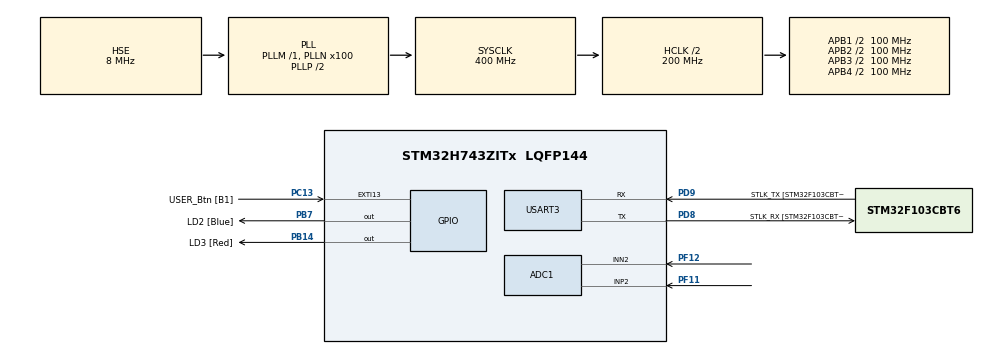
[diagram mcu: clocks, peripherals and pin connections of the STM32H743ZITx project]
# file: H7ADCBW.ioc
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Mcu.Family=STM32H7
NVIC.USART3_IRQn=true\:0\:0\:false\:false\:true\:true\:true
RCC.CortexFreq_Value=400000000
ADC1.ContinuousConvMode=ENABLE
RCC.HPRE=RCC_HCLK_DIV2
PH0-OSC_IN\ (PH0).Signal=RCC_OSC_IN
Dma.ADC1.0.Polarity=HAL_DMAMUX_REQ_GEN_RISING
RCC.PLL2_VCI_Range-AdvancedSettings=RCC_PLL2VCIRANGE_0
Dma.USART3_TX.1.MemInc=DMA_MINC_ENABLE
PB14.GPIO_Label=LD3 [Red]
PC15-OSC32_OUT\ (OSC32_OUT).Mode=LSE-External-Oscillator
RCC.PLLFRACN=0
RCC.SYSCLKSourceVirtual=RCC_SYSCLKSOURCE_PLLCLK
Dma.USART3_TX.1.PeriphDataAlignment=DMA_PDATAALIGN_BYTE
RCC.PLL2FRACN=0
Dma.USART3_TX.1.Instance=DMA1_Stream1
PC13.GPIO_Label=USER_Btn [B1]
Dma.USART3_TX.1.RequestNumber=1
PD9.Mode=Asynchronous
RCC.SYSCLKSource=RCC_SYSCLKSOURCE_PLLCLK
ProjectManager.StackSize=0x400
Dma.USART3_TX.1.EventEnable=DISABLE
USART3.VirtualMode-Asynchronous=VM_ASYNC
PA14\ (JTCK/SWCLK).Signal=DEBUG_JTCK-SWCLK
RCC.HCLKFreq_Value=200000000
RCC.APB2TimFreq_Value=216000000
Dma.ADC1.0.Direction=DMA_PERIPH_TO_MEMORY
PF12.Signal=ADC1_INN2
PD8.Signal=USART3_TX
Dma.ADC1.0.MemDataAlignment=DMA_MDATAALIGN_HALFWORD
RCC.AHBFreq_Value=216000000
ADC1.Channel-0\#ChannelRegularConversion=ADC_CHANNEL_2
RCC.HSE_VALUE=8000000
Dma.USART3_TX.1.Mode=DMA_NORMAL
Dma.USART3_TX.1.SignalID=NONE
RCC.DIVM2=1
RCC.DIVM1=1
RCC.PLLMUL=RCC_PLL_MUL9
RCC.PLL1_VCI_Range-AdvancedSettings=RCC_PLL1VCIRANGE_0
PF11.Signal=ADC1_INP2
Dma.ADC1.0.PeriphInc=DMA_PINC_DISABLE
PB7.Signal=GPIO_Output
PA14\ (JTCK/SWCLK).Mode=Serial_Wire
ADC1.SamplingTime-0\#ChannelRegularConversion=ADC_SAMPLETIME_1CYCLE_5
Dma.USART3_TX.1.FIFOMode=DMA_FIFOMODE_DISABLE
Dma.USART3_TX.1.Priority=DMA_PRIORITY_LOW
RCC.APB3Freq_Value=100000000
PB7.GPIO_Label=LD2 [Blue]
Mcu.Package=LQFP144
RCC.D1PPRE=RCC_APB3_DIV2
PC14-OSC32_IN\ (OSC32_IN).Mode=LSE-External-Oscillator
RCC.APB2CLKDivider=RCC_HCLK_DIV2
RCC.APB4Freq_Value=100000000
RCC.APB1TimFreq_Value=108000000
Dma.Request1=USART3_TX
Dma.ADC1.0.FIFOMode=DMA_FIFOMODE_DISABLE
NVIC.DMA1_Stream0_IRQn=true\:0\:0\:false\:false\:true\:false\:true
Dma.USART3_TX.1.PeriphInc=DMA_PINC_DISABLE
Dma.Request0=ADC1
PH0-OSC_IN\ (PH0).Mode=HSE-External-Clock-Source
Dma.ADC1.0.EventEnable=DISABLE
RCC.PLLSourceVirtual=RCC_PLLSOURCE_HSE
Dma.USART3_TX.1.MemDataAlignment=DMA_MDATAALIGN_BYTE
Dma.ADC1.0.Instance=DMA1_Stream0
CORTEX_M7.CPU_ICache=Enabled
RCC.DIVQ1=4
ADC1.Rank-0\#ChannelRegularConversion=1
PA13\ (JTMS/SWDIO).Mode=Serial_Wire
PD9.GPIO_Label=STLK_TX [STM32F103CBT6_PA2]
Dma.USART3_TX.1.SyncSignalID=NONE
Dma.ADC1.0.SyncRequestNumber=1
ADC1.OffsetNumber-0\#ChannelRegularConversion=ADC_OFFSET_NONE
PC13.Signal=GPXTI13
RCC.D2PPRE2=RCC_APB2_DIV2
RCC.D2PPRE1=RCC_APB1_DIV2
RCC.DIVP2=8
PD9.Signal=USART3_RX
NVIC.DMA1_Stream1_IRQn=true\:0\:0\:false\:false\:true\:false\:true
RCC.APB1CLKDivider=RCC_HCLK_DIV4
RCC.PWR_Regulator_Voltage_Scale=PWR_REGULATOR_VOLTAGE_SCALE1
PD8.GPIO_Label=STLK_RX [STM32F103CBT6_PA3]
ADC1.SingleDiff-0\#ChannelRegularConversion=ADC_DIFFERENTIAL_ENDED
PF11.Mode=IN2-Differential
Dma.ADC1.0.PeriphDataAlignment=DMA_PDATAALIGN_HALFWORD
ProjectManager.TargetToolchain=STM32CubeIDE
PC15-OSC32_OUT\ (OSC32_OUT).Signal=RCC_OSC32_OUT
Dma.ADC1.0.Mode=DMA_CIRCULAR
Dma.ADC1.0.SignalID=NONE
Dma.ADC1.0.SyncSignalID=NONE
Dma.ADC1.0.Priority=DMA_PRIORITY_LOW
RCC.DIVN2=20
RCC.DIVN1=100
RCC.USBFreq_Value=200000000
PD8.Mode=Asynchronous
ADC1.OffsetSignedSaturation-0\#ChannelRegularConversion=DISABLE
PB14.Signal=GPIO_Output
board=NUCLEO-H743ZI
RCC.VCOOutputFreq_Value=432000000
Dma.ADC1.0.SyncPolarity=HAL_DMAMUX_SYNC_NO_EVENT
RCC.APB2Freq_Value=100000000
RCC.PRESCALERUSB=RCC_USBCLKSOURCE_PLL_DIV1_5
RCC.ADCFreq_Value=20000000
Mcu.Name=STM32H743ZITx
Dma.USART3_TX.1.SyncEnable=DISABLE
RCC.48MHZClocksFreq_Value=24000000
RCC.PLL3_VCO_SEL-AdvancedSettings=RCC_PLL3VCOMEDIUM
RCC.SYSCLKFreq_VALUE=400000000
ADC1.master=1
PF12.Mode=IN2-Differential
PC14-OSC32_IN\ (OSC32_IN).Signal=RCC_OSC32_IN
Dma.ADC1.0.RequestNumber=1
Dma.ADC1.0.SyncEnable=DISABLE
Dma.ADC1.0.MemInc=DMA_MINC_ENABLE
Dma.USART3_TX.1.SyncPolarity=HAL_DMAMUX_SYNC_NO_EVENT
ProjectManager.HeapSize=0x200
Dma.USART3_TX.1.Polarity=HAL_DMAMUX_REQ_GEN_RISING
RCC.HSI_VALUE=64000000
RCC.PLLQ=9
NVIC.PriorityGroup=NVIC_PRIORITYGROUP_4
ADC1.NbrOfConversionFlag=1
PH0-OSC_IN\ (PH0).GPIO_Label=MCO
Dma.USART3_TX.1.Direction=DMA_MEMORY_TO_PERIPH
RCC.PLLM=25
RCC.PLLN=432
ADC1.ConversionDataManagement=ADC_CONVERSIONDATA_DMA_CIRCULAR
RCC.D3PPRE=RCC_APB4_DIV2
Dma.USART3_TX.1.SyncRequestNumber=1
RCC.APB1Freq_Value=100000000
PA13\ (JTMS/SWDIO).Signal=DEBUG_JTMS-SWDIO

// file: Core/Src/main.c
/* USER CODE BEGIN Header */
/*
 * main.c of project H7ADCBW
 * purpose: measuring the analog bandwidth of one of the ADCs in a STM32H743ZI
 * (in conjunction with a supplied python script)
 * This program sets one of the ADCs to continuous sampling.
 * From then on, the ADC values are endlessly written to a cyclic buffer.
 * Each time the buffer is half full, its first half is written via USART3
 * to the PC and the Python script for further analysis
 *  Created on: June 3, 2021
 *      Author: papamidas DM1CR
 *   toolchain: STM32CubeIDE 1.6.1
 */
/* USER CODE END Header */
#include "main.h"

/* USER CODE BEGIN Includes */
#include "base64_encode.h"
/* USER CODE END Includes */

/* USER CODE BEGIN PD */
#define DMA_IDLE -1
#define DMA_INPROGRESS 0
#define DMA_HALFCOMPLETE 1
#define DMA_COMPLETE 2

#define ADC_HALFBUFLEN 2048
#define TX_BUFLEN (4 * (ADC_HALFBUFLEN * sizeof(uint16_t) + 2) / 3 + 2)
/* USER CODE END PD */

ADC_HandleTypeDef hadc1;
DMA_HandleTypeDef hdma_adc1;

UART_HandleTypeDef huart3;
DMA_HandleTypeDef hdma_usart3_tx;

/* USER CODE BEGIN PV */
__attribute__((section(".ram_d2"))) ALIGN_32BYTES  (static uint16_t adc_buf[2*ADC_HALFBUFLEN]);
__attribute__((section(".ram_d2"))) ALIGN_32BYTES  (static char tx_buf[TX_BUFLEN]);

volatile int8_t txBufDMAState = DMA_IDLE;
volatile int8_t adcBufDMAState = DMA_IDLE;
/* USER CODE END PV */

void SystemClock_Config(void);
static void MX_GPIO_Init(void);
static void MX_DMA_Init(void);
static void MX_USART3_UART_Init(void);
static void MX_ADC1_Init(void);

int main(void)
{
  /* USER CODE BEGIN 1 */
  size_t output_buflen;
  /* USER CODE END 1 */

  /* Enable I-Cache---------------------------------------------------------*/
  SCB_EnableICache();

  /* MCU Configuration--------------------------------------------------------*/

  /* Reset of all peripherals, Initializes the Flash interface and the Systick. */
  HAL_Init();

  /* Configure the system clock */
  SystemClock_Config();

  /* Initialize all configured peripherals */
  MX_GPIO_Init();
  MX_DMA_Init();
  MX_USART3_UART_Init();
  MX_ADC1_Init();
  /* USER CODE BEGIN 2 */
  if(HAL_OK != HAL_ADC_Start_DMA(&hadc1, (uint32_t*)adc_buf, 2*ADC_HALFBUFLEN)) {
	Error_Handler();
  }
  adcBufDMAState = DMA_INPROGRESS;
  /* USER CODE END 2 */

  /* Infinite loop */
  /* USER CODE BEGIN WHILE */
  while (1)
  {
	while(adcBufDMAState != DMA_HALFCOMPLETE)
	 {}
	base64_encode((uint8_t *)adc_buf, 2*ADC_HALFBUFLEN, tx_buf, &output_buflen);
	tx_buf[output_buflen] = '\r';
	tx_buf[output_buflen+1] = '\n';

	if(HAL_OK != HAL_UART_Transmit_DMA(&huart3, (uint8_t *)tx_buf, output_buflen+2))
	{
		Error_Handler();
    }
	txBufDMAState = DMA_INPROGRESS;
	while(txBufDMAState != DMA_COMPLETE)
	  {} //wait till all data sent
	adcBufDMAState = DMA_INPROGRESS;
  }
    /* USER CODE END WHILE */

}

void SystemClock_Config(void)
{
  RCC_OscInitTypeDef RCC_OscInitStruct = {0};
  RCC_ClkInitTypeDef RCC_ClkInitStruct = {0};

  /** Supply configuration update enable
  */
  HAL_PWREx_ConfigSupply(PWR_LDO_SUPPLY);
  /** Configure the main internal regulator output voltage
  */
  __HAL_PWR_VOLTAGESCALING_CONFIG(PWR_REGULATOR_VOLTAGE_SCALE1);

  while(!__HAL_PWR_GET_FLAG(PWR_FLAG_VOSRDY)) {}
  /** Macro to configure the PLL clock source
  */
  __HAL_RCC_PLL_PLLSOURCE_CONFIG(RCC_PLLSOURCE_HSE);
  /** Initializes the RCC Oscillators according to the specified parameters
  * in the RCC_OscInitTypeDef structure.
  */
  RCC_OscInitStruct.OscillatorType = RCC_OSCILLATORTYPE_HSE;
  RCC_OscInitStruct.HSEState = RCC_HSE_BYPASS;
  RCC_OscInitStruct.PLL.PLLState = RCC_PLL_ON;
  RCC_OscInitStruct.PLL.PLLSource = RCC_PLLSOURCE_HSE;
  RCC_OscInitStruct.PLL.PLLM = 1;
  RCC_OscInitStruct.PLL.PLLN = 100;
  RCC_OscInitStruct.PLL.PLLP = 2;
  RCC_OscInitStruct.PLL.PLLQ = 4;
  RCC_OscInitStruct.PLL.PLLR = 2;
  RCC_OscInitStruct.PLL.PLLRGE = RCC_PLL1VCIRANGE_3;
  RCC_OscInitStruct.PLL.PLLVCOSEL = RCC_PLL1VCOWIDE;
  RCC_OscInitStruct.PLL.PLLFRACN = 0;
  if (HAL_RCC_OscConfig(&RCC_OscInitStruct) != HAL_OK)
  {
    Error_Handler();
  }
  /** Initializes the CPU, AHB and APB buses clocks
  */
  RCC_ClkInitStruct.ClockType = RCC_CLOCKTYPE_HCLK|RCC_CLOCKTYPE_SYSCLK
                              |RCC_CLOCKTYPE_PCLK1|RCC_CLOCKTYPE_PCLK2
                              |RCC_CLOCKTYPE_D3PCLK1|RCC_CLOCKTYPE_D1PCLK1;
  RCC_ClkInitStruct.SYSCLKSource = RCC_SYSCLKSOURCE_PLLCLK;
  RCC_ClkInitStruct.SYSCLKDivider = RCC_SYSCLK_DIV1;
  RCC_ClkInitStruct.AHBCLKDivider = RCC_HCLK_DIV2;
  RCC_ClkInitStruct.APB3CLKDivider = RCC_APB3_DIV2;
  RCC_ClkInitStruct.APB1CLKDivider = RCC_APB1_DIV2;
  RCC_ClkInitStruct.APB2CLKDivider = RCC_APB2_DIV2;
  RCC_ClkInitStruct.APB4CLKDivider = RCC_APB4_DIV2;

  if (HAL_RCC_ClockConfig(&RCC_ClkInitStruct, FLASH_LATENCY_2) != HAL_OK)
  {
    Error_Handler();
  }
}

static void MX_ADC1_Init(void)
{

  ADC_MultiModeTypeDef multimode = {0};
  ADC_ChannelConfTypeDef sConfig = {0};

  /** Common config
  */
  hadc1.Instance = ADC1;
  hadc1.Init.ClockPrescaler = ADC_CLOCK_ASYNC_DIV1;
  hadc1.Init.Resolution = ADC_RESOLUTION_16B;
  hadc1.Init.ScanConvMode = ADC_SCAN_DISABLE;
  hadc1.Init.EOCSelection = ADC_EOC_SINGLE_CONV;
  hadc1.Init.LowPowerAutoWait = DISABLE;
  hadc1.Init.ContinuousConvMode = ENABLE;
  hadc1.Init.NbrOfConversion = 1;
  hadc1.Init.DiscontinuousConvMode = DISABLE;
  hadc1.Init.ExternalTrigConv = ADC_SOFTWARE_START;
  hadc1.Init.ExternalTrigConvEdge = ADC_EXTERNALTRIGCONVEDGE_NONE;
  hadc1.Init.ConversionDataManagement = ADC_CONVERSIONDATA_DMA_CIRCULAR;
  hadc1.Init.Overrun = ADC_OVR_DATA_PRESERVED;
  hadc1.Init.LeftBitShift = ADC_LEFTBITSHIFT_NONE;
  hadc1.Init.OversamplingMode = DISABLE;
  if (HAL_ADC_Init(&hadc1) != HAL_OK)
  {
    Error_Handler();
  }
  /** Configure the ADC multi-mode
  */
  multimode.Mode = ADC_MODE_INDEPENDENT;
  if (HAL_ADCEx_MultiModeConfigChannel(&hadc1, &multimode) != HAL_OK)
  {
    Error_Handler();
  }
  /** Configure Regular Channel
  */
  sConfig.Channel = ADC_CHANNEL_2;
  sConfig.Rank = ADC_REGULAR_RANK_1;
  sConfig.SamplingTime = ADC_SAMPLETIME_1CYCLE_5;
  sConfig.SingleDiff = ADC_DIFFERENTIAL_ENDED;
  sConfig.OffsetNumber = ADC_OFFSET_NONE;
  sConfig.Offset = 0;
  sConfig.OffsetSignedSaturation = DISABLE;
  if (HAL_ADC_ConfigChannel(&hadc1, &sConfig) != HAL_OK)
  {
    Error_Handler();
  }

}

static void MX_USART3_UART_Init(void)
{

  huart3.Instance = USART3;
  huart3.Init.BaudRate = 115200;
  huart3.Init.WordLength = UART_WORDLENGTH_8B;
  huart3.Init.StopBits = UART_STOPBITS_1;
  huart3.Init.Parity = UART_PARITY_NONE;
  huart3.Init.Mode = UART_MODE_TX_RX;
  huart3.Init.HwFlowCtl = UART_HWCONTROL_NONE;
  huart3.Init.OverSampling = UART_OVERSAMPLING_16;
  huart3.Init.OneBitSampling = UART_ONE_BIT_SAMPLE_DISABLE;
  huart3.Init.ClockPrescaler = UART_PRESCALER_DIV1;
  huart3.AdvancedInit.AdvFeatureInit = UART_ADVFEATURE_NO_INIT;
  if (HAL_UART_Init(&huart3) != HAL_OK)
  {
    Error_Handler();
  }
  if (HAL_UARTEx_SetTxFifoThreshold(&huart3, UART_TXFIFO_THRESHOLD_1_8) != HAL_OK)
  {
    Error_Handler();
  }
  if (HAL_UARTEx_SetRxFifoThreshold(&huart3, UART_RXFIFO_THRESHOLD_1_8) != HAL_OK)
  {
    Error_Handler();
  }
  if (HAL_UARTEx_DisableFifoMode(&huart3) != HAL_OK)
  {
    Error_Handler();
  }

}

static void MX_DMA_Init(void)
{

  /* DMA controller clock enable */
  __HAL_RCC_DMA1_CLK_ENABLE();

  /* DMA interrupt init */
  /* DMA1_Stream0_IRQn interrupt configuration */
  HAL_NVIC_SetPriority(DMA1_Stream0_IRQn, 0, 0);
  HAL_NVIC_EnableIRQ(DMA1_Stream0_IRQn);
  /* DMA1_Stream1_IRQn interrupt configuration */
  HAL_NVIC_SetPriority(DMA1_Stream1_IRQn, 0, 0);
  HAL_NVIC_EnableIRQ(DMA1_Stream1_IRQn);

}

static void MX_GPIO_Init(void)
{
  GPIO_InitTypeDef GPIO_InitStruct = {0};

  /* GPIO Ports Clock Enable */
  __HAL_RCC_GPIOC_CLK_ENABLE();
  __HAL_RCC_GPIOH_CLK_ENABLE();
  __HAL_RCC_GPIOF_CLK_ENABLE();
  __HAL_RCC_GPIOB_CLK_ENABLE();
  __HAL_RCC_GPIOD_CLK_ENABLE();
  __HAL_RCC_GPIOA_CLK_ENABLE();

  /*Configure GPIO pin Output Level */
  HAL_GPIO_WritePin(GPIOB, LD3_Pin|LD2_Pin, GPIO_PIN_RESET);

  /*Configure GPIO pin : USER_Btn_Pin */
  GPIO_InitStruct.Pin = USER_Btn_Pin;
  GPIO_InitStruct.Mode = GPIO_MODE_IT_RISING;
  GPIO_InitStruct.Pull = GPIO_NOPULL;
  HAL_GPIO_Init(USER_Btn_GPIO_Port, &GPIO_InitStruct);

  /*Configure GPIO pins : LD3_Pin LD2_Pin */
  GPIO_InitStruct.Pin = LD3_Pin|LD2_Pin;
  GPIO_InitStruct.Mode = GPIO_MODE_OUTPUT_PP;
  GPIO_InitStruct.Pull = GPIO_NOPULL;
  GPIO_InitStruct.Speed = GPIO_SPEED_FREQ_LOW;
  HAL_GPIO_Init(GPIOB, &GPIO_InitStruct);

}

/* USER CODE BEGIN 4 */
void HAL_ADC_ConvHalfCpltCallback(ADC_HandleTypeDef *hadc)
{
  adcBufDMAState = DMA_HALFCOMPLETE;
}

void HAL_ADC_ConvCpltCallback(ADC_HandleTypeDef *hadc)
{
  adcBufDMAState = DMA_COMPLETE;
}

void HAL_UART_TxHalfCpltCallback(UART_HandleTypeDef *huart)
{
  txBufDMAState = DMA_HALFCOMPLETE;
}

void HAL_UART_TxCpltCallback(UART_HandleTypeDef *huart)
{
  txBufDMAState = DMA_COMPLETE;
}
/* USER CODE END 4 */

void Error_Handler(void)
{
}

/************************ (C) COPYRIGHT STMicroelectronics *****END OF FILE****/
